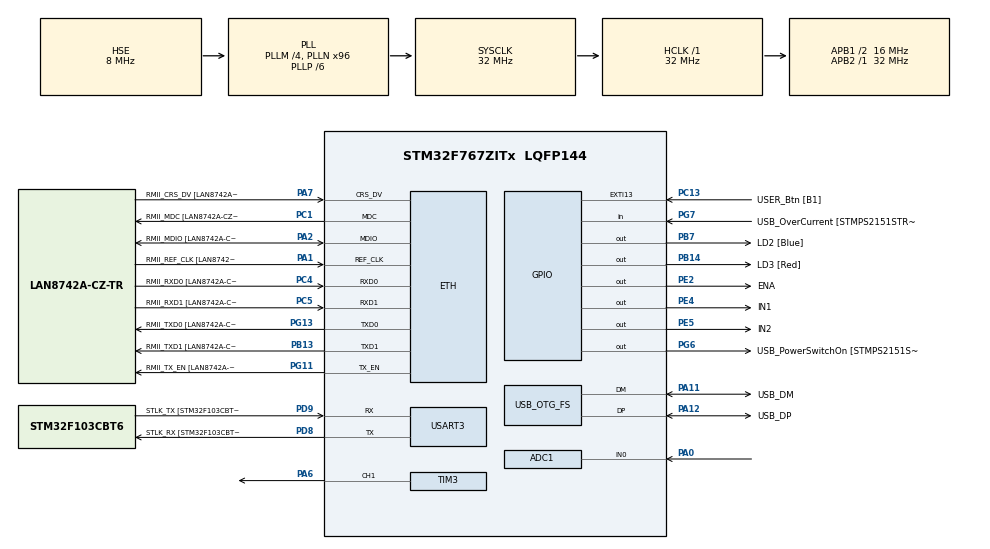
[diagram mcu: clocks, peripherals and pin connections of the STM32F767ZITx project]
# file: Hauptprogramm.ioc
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ADC1.Channel-1\#ChannelRegularConversion=ADC_CHANNEL_0
ADC1.ClockPrescaler=ADC_CLOCK_SYNC_PCLK_DIV4
ADC1.NbrOfConversionFlag=1
ADC1.Rank-1\#ChannelRegularConversion=1
ADC1.Resolution=ADC_RESOLUTION_10B
ADC1.SamplingTime-1\#ChannelRegularConversion=ADC_SAMPLETIME_15CYCLES
ADC1.master=1
ETH.MediaInterface=ETH_MEDIA_INTERFACE_RMII
ETH.PHY_Name=LAN8742A_PHY_ADDRESS
ETH.PHY_Value=0
ETH.PhyAddress=0
Mcu.Family=STM32F7
Mcu.Name=STM32F767ZITx
Mcu.Package=LQFP144
NVIC.OTG_FS_IRQn=true\:0\:0\:false\:false\:true\:false\:true
NVIC.PriorityGroup=NVIC_PRIORITYGROUP_4
NVIC.TIM8_TRG_COM_TIM14_IRQn=true\:0\:0\:false\:false\:true\:true\:true
PA0/WKUP.Signal=ADCx_IN0
PA1.GPIO_Label=RMII_REF_CLK [LAN8742A-CZ-TR_REFCLK0]
PA1.Mode=RMII
PA1.Signal=ETH_REF_CLK
PA10.GPIO_Label=USB_ID
PA10.Signal=USB_OTG_FS_ID
PA11.GPIO_Label=USB_DM
PA11.Mode=Device_Only
PA11.Signal=USB_OTG_FS_DM
PA12.GPIO_Label=USB_DP
PA12.Mode=Device_Only
PA12.Signal=USB_OTG_FS_DP
PA13.GPIO_Label=TMS
PA13.Mode=Serial_Wire
PA13.Signal=SYS_JTMS-SWDIO
PA14.GPIO_Label=TCK
PA14.Mode=Serial_Wire
PA14.Signal=SYS_JTCK-SWCLK
PA2.GPIO_Label=RMII_MDIO [LAN8742A-CZ-TR_MDIO]
PA2.Mode=RMII
PA2.Signal=ETH_MDIO
PA6.Signal=S_TIM3_CH1
PA7.GPIO_Label=RMII_CRS_DV [LAN8742A-CZ-TR_CRS_DV]
PA7.Mode=RMII
PA7.Signal=ETH_CRS_DV
PA8.GPIO_Label=USB_SOF [TP1]
PA8.Signal=USB_OTG_FS_SOF
PA9.GPIO_Label=USB_VBUS
PA9.Signal=USB_OTG_FS_VBUS
PB13.GPIO_Label=RMII_TXD1 [LAN8742A-CZ-TR_TXD1]
PB13.Mode=RMII
PB13.Signal=ETH_TXD1
PB14.GPIO_Label=LD3 [Red]
PB14.Signal=GPIO_Output
PB3.GPIO_Label=SWO
PB3.Signal=SYS_JTDO-SWO
PB7.GPIO_Label=LD2 [Blue]
PB7.Signal=GPIO_Output
PC1.GPIO_Label=RMII_MDC [LAN8742A-CZ-TR_MDC]
PC1.Mode=RMII
PC1.Signal=ETH_MDC
PC13.GPIO_Label=USER_Btn [B1]
PC13.Signal=GPXTI13
PC14/OSC32_IN.Mode=LSE-External-Oscillator
PC14/OSC32_IN.Signal=RCC_OSC32_IN
PC15/OSC32_OUT.Mode=LSE-External-Oscillator
PC15/OSC32_OUT.Signal=RCC_OSC32_OUT
PC4.GPIO_Label=RMII_RXD0 [LAN8742A-CZ-TR_RXD0]
PC4.Mode=RMII
PC4.Signal=ETH_RXD0
PC5.GPIO_Label=RMII_RXD1 [LAN8742A-CZ-TR_RXD1]
PC5.Mode=RMII
PC5.Signal=ETH_RXD1
PD8.GPIO_Label=STLK_RX [STM32F103CBT6_PA3]
PD8.Mode=Asynchronous
PD8.Signal=USART3_TX
PD9.GPIO_Label=STLK_TX [STM32F103CBT6_PA2]
PD9.Mode=Asynchronous
PD9.Signal=USART3_RX
PE2.GPIO_Label=ENA
PE2.Signal=GPIO_Output
PE4.GPIO_Label=IN1
PE4.Signal=GPIO_Output
PE5.GPIO_Label=IN2
PE5.Signal=GPIO_Output
PG11.GPIO_Label=RMII_TX_EN [LAN8742A-CZ-TR_TXEN]
PG11.Mode=RMII
PG11.Signal=ETH_TX_EN
PG13.GPIO_Label=RMII_TXD0 [LAN8742A-CZ-TR_TXD0]
PG13.Mode=RMII
PG13.Signal=ETH_TXD0
PG6.GPIO_Label=USB_PowerSwitchOn [STMPS2151STR_EN]
PG6.Signal=GPIO_Output
PG7.GPIO_Label=USB_OverCurrent [STMPS2151STR_FAULT]
PG7.Signal=GPIO_Input
PH0/OSC_IN.GPIO_Label=MCO [STM32F103CBT6_PA8]
PH0/OSC_IN.Mode=HSE-External-Clock-Source
PH0/OSC_IN.Signal=RCC_OSC_IN
PH1/OSC_OUT.Mode=HSE-External-Clock-Source
PH1/OSC_OUT.Signal=RCC_OSC_OUT
ProjectManager.HeapSize=0x2000
ProjectManager.StackSize=0x4000
ProjectManager.TargetToolchain=MDK-ARM V5
RCC.48MHZClocksFreq_Value=24000000
RCC.AHBFreq_Value=32000000
RCC.APB1CLKDivider=RCC_HCLK_DIV2
RCC.APB1Freq_Value=16000000
RCC.APB1TimFreq_Value=32000000
RCC.APB2Freq_Value=32000000
RCC.APB2TimFreq_Value=32000000
RCC.CortexFreq_Value=32000000
RCC.HCLKFreq_Value=32000000
RCC.HSE_VALUE=8000000
RCC.HSI_VALUE=16000000
RCC.PLLM=4
RCC.PLLMUL=RCC_PLL_MUL9
RCC.PLLN=96
RCC.PLLP=RCC_PLLP_DIV6
RCC.PLLQ=4
RCC.PRESCALERUSB=RCC_USBCLKSOURCE_PLL_DIV1_5
RCC.SYSCLKFreq_VALUE=32000000
RCC.SYSCLKSource=RCC_SYSCLKSOURCE_PLLCLK
RCC.SYSCLKSourceVirtual=RCC_SYSCLKSOURCE_PLLCLK
RCC.USBFreq_Value=48000000
RCC.VCOOutputFreq_Value=192000000
SH.ADCx_IN0.0=ADC1_IN0,IN0
SH.S_TIM3_CH1.0=TIM3_CH1,PWM Generation1 CH1
TIM14.Period=15999
TIM14.Prescaler=999
TIM3.Channel-PWM\ Generation1\ CH1=TIM_CHANNEL_1
TIM3.Period=1000
TIM3.Prescaler=32000
TIM3.Pulse-PWM\ Generation1\ CH1=500
USART3.VirtualMode-Asynchronous=VM_ASYNC
USB_DEVICE.CLASS_NAME_FS=CDC
USB_DEVICE.VirtualMode-CDC_FS=Cdc
USB_DEVICE.VirtualModeFS=Cdc_FS
USB_OTG_FS.VirtualMode=Device_Only
VP_TIM14_VS_ClockSourceINT.Mode=Enable_Timer
VP_TIM3_VS_ClockSourceINT.Mode=Internal
VP_USB_DEVICE_VS_USB_DEVICE_CDC_FS.Mode=CDC_FS
board=NUCLEO-F767ZI

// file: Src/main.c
/* USER CODE BEGIN Header */
/**
  ******************************************************************************
  * @file           : main.c
  * @brief          : Main program body
  ******************************************************************************
  * @attention
  *
  * <h2><center>&copy; Copyright (c) 2019 STMicroelectronics.
  * All rights reserved.</center></h2>
  *
  * This software component is licensed by ST under Ultimate Liberty license
  * SLA0044, the "License"; You may not use this file except in compliance with
  * the License. You may obtain a copy of the License at:
  *                             www.st.com/SLA0044
  *
  ******************************************************************************
  */
/* USER CODE END Header */

#include "main.h"
#include "usb_device.h"

/* USER CODE BEGIN Includes */
#include "usbd_cdc_if.h"
/* USER CODE END Includes */

ADC_HandleTypeDef hadc1;

ETH_HandleTypeDef heth;

TIM_HandleTypeDef htim3;
TIM_HandleTypeDef htim14;

UART_HandleTypeDef huart3;

/* USER CODE BEGIN PV */
uint32_t adcvaluek;
uint32_t adcvaluew;
float sensork;
float sensorw;
int test = 0;

/* USER CODE END PV */

void SystemClock_Config(void);
static void MX_GPIO_Init(void);
static void MX_ETH_Init(void);
static void MX_TIM14_Init(void);
static void MX_USART3_UART_Init(void);
static void MX_ADC1_Init(void);
static void MX_TIM3_Init(void);

int main(void)
{
  /* USER CODE BEGIN 1 */
  TIM_OC_InitTypeDef testConfigOC = {0};

  /* USER CODE END 1 */

  /* MCU Configuration--------------------------------------------------------*/

  /* Reset of all peripherals, Initializes the Flash interface and the Systick. */
  HAL_Init();

  /* Configure the system clock */
  SystemClock_Config();

  /* Initialize all configured peripherals */
  MX_GPIO_Init();
  MX_ETH_Init();
  MX_TIM14_Init();
  MX_USART3_UART_Init();
  MX_ADC1_Init();
  MX_TIM3_Init();
  MX_USB_DEVICE_Init();
  /* USER CODE BEGIN 2 */
	HAL_TIM_Base_Start_IT(&htim14);

	test = 15;
	HAL_TIM_PWM_Start(&htim3, TIM_CHANNEL_1);

	testConfigOC.OCMode = TIM_OCMODE_PWM1;
  testConfigOC.Pulse = test;
  testConfigOC.OCPolarity = TIM_OCPOLARITY_HIGH;
  testConfigOC.OCFastMode = TIM_OCFAST_DISABLE;

	if (HAL_TIM_PWM_ConfigChannel(&htim3, &testConfigOC, TIM_CHANNEL_1) != HAL_OK)
  {
    Error_Handler();
  }
	HAL_TIM_PWM_Start(&htim3, TIM_CHANNEL_1);

  /* USER CODE END 2 */
  /* Infinite loop */
  while (1)
  {

    /* USER CODE BEGIN 3 */
		HAL_GPIO_WritePin(IN1_GPIO_Port, IN1_Pin, GPIO_PIN_SET);
		HAL_GPIO_WritePin(IN2_GPIO_Port, IN2_Pin, GPIO_PIN_RESET);

		HAL_ADC_Start(&hadc1);
		if(HAL_ADC_PollForConversion(&hadc1,5) == HAL_OK)
			adcvaluek = HAL_ADC_GetValue(&hadc1);

		sensork=2*(2076.0/(adcvaluek-11));

		uint8_t buffer[] = "Hello World";

		CDC_Transmit_FS(buffer, sizeof(buffer));

		HAL_Delay(1000);
  }
  /* USER CODE END 3 */
}

void SystemClock_Config(void)
{
  RCC_OscInitTypeDef RCC_OscInitStruct = {0};
  RCC_ClkInitTypeDef RCC_ClkInitStruct = {0};
  RCC_PeriphCLKInitTypeDef PeriphClkInitStruct = {0};

  /** Configure LSE Drive Capability
  */
  HAL_PWR_EnableBkUpAccess();
  /** Configure the main internal regulator output voltage
  */
  __HAL_RCC_PWR_CLK_ENABLE();
  __HAL_PWR_VOLTAGESCALING_CONFIG(PWR_REGULATOR_VOLTAGE_SCALE3);
  /** Initializes the CPU, AHB and APB busses clocks
  */
  RCC_OscInitStruct.OscillatorType = RCC_OSCILLATORTYPE_HSE;
  RCC_OscInitStruct.HSEState = RCC_HSE_BYPASS;
  RCC_OscInitStruct.PLL.PLLState = RCC_PLL_ON;
  RCC_OscInitStruct.PLL.PLLSource = RCC_PLLSOURCE_HSE;
  RCC_OscInitStruct.PLL.PLLM = 4;
  RCC_OscInitStruct.PLL.PLLN = 96;
  RCC_OscInitStruct.PLL.PLLP = RCC_PLLP_DIV6;
  RCC_OscInitStruct.PLL.PLLQ = 4;
  if (HAL_RCC_OscConfig(&RCC_OscInitStruct) != HAL_OK)
  {
    Error_Handler();
  }
  /** Initializes the CPU, AHB and APB busses clocks
  */
  RCC_ClkInitStruct.ClockType = RCC_CLOCKTYPE_HCLK|RCC_CLOCKTYPE_SYSCLK
                              |RCC_CLOCKTYPE_PCLK1|RCC_CLOCKTYPE_PCLK2;
  RCC_ClkInitStruct.SYSCLKSource = RCC_SYSCLKSOURCE_PLLCLK;
  RCC_ClkInitStruct.AHBCLKDivider = RCC_SYSCLK_DIV1;
  RCC_ClkInitStruct.APB1CLKDivider = RCC_HCLK_DIV2;
  RCC_ClkInitStruct.APB2CLKDivider = RCC_HCLK_DIV1;

  if (HAL_RCC_ClockConfig(&RCC_ClkInitStruct, FLASH_LATENCY_1) != HAL_OK)
  {
    Error_Handler();
  }
  PeriphClkInitStruct.PeriphClockSelection = RCC_PERIPHCLK_USART3|RCC_PERIPHCLK_CLK48;
  PeriphClkInitStruct.Usart3ClockSelection = RCC_USART3CLKSOURCE_PCLK1;
  PeriphClkInitStruct.Clk48ClockSelection = RCC_CLK48SOURCE_PLL;
  if (HAL_RCCEx_PeriphCLKConfig(&PeriphClkInitStruct) != HAL_OK)
  {
    Error_Handler();
  }
}

static void MX_ADC1_Init(void)
{

  ADC_ChannelConfTypeDef sConfig = {0};

  /** Configure the global features of the ADC (Clock, Resolution, Data Alignment and number of conversion)
  */
  hadc1.Instance = ADC1;
  hadc1.Init.ClockPrescaler = ADC_CLOCK_SYNC_PCLK_DIV4;
  hadc1.Init.Resolution = ADC_RESOLUTION_10B;
  hadc1.Init.ScanConvMode = ADC_SCAN_DISABLE;
  hadc1.Init.ContinuousConvMode = DISABLE;
  hadc1.Init.DiscontinuousConvMode = DISABLE;
  hadc1.Init.ExternalTrigConvEdge = ADC_EXTERNALTRIGCONVEDGE_NONE;
  hadc1.Init.ExternalTrigConv = ADC_SOFTWARE_START;
  hadc1.Init.DataAlign = ADC_DATAALIGN_RIGHT;
  hadc1.Init.NbrOfConversion = 1;
  hadc1.Init.DMAContinuousRequests = DISABLE;
  hadc1.Init.EOCSelection = ADC_EOC_SINGLE_CONV;
  if (HAL_ADC_Init(&hadc1) != HAL_OK)
  {
    Error_Handler();
  }
  /** Configure for the selected ADC regular channel its corresponding rank in the sequencer and its sample time.
  */
  sConfig.Channel = ADC_CHANNEL_0;
  sConfig.Rank = ADC_REGULAR_RANK_1;
  sConfig.SamplingTime = ADC_SAMPLETIME_15CYCLES;
  if (HAL_ADC_ConfigChannel(&hadc1, &sConfig) != HAL_OK)
  {
    Error_Handler();
  }

}

static void MX_ETH_Init(void)
{

   uint8_t MACAddr[6] ;

  heth.Instance = ETH;
  heth.Init.AutoNegotiation = ETH_AUTONEGOTIATION_ENABLE;
  heth.Init.PhyAddress = LAN8742A_PHY_ADDRESS;
  MACAddr[0] = 0x00;
  MACAddr[1] = 0x80;
  MACAddr[2] = 0xE1;
  MACAddr[3] = 0x00;
  MACAddr[4] = 0x00;
  MACAddr[5] = 0x00;
  heth.Init.MACAddr = &MACAddr[0];
  heth.Init.RxMode = ETH_RXPOLLING_MODE;
  heth.Init.ChecksumMode = ETH_CHECKSUM_BY_HARDWARE;
  heth.Init.MediaInterface = ETH_MEDIA_INTERFACE_RMII;

  if (HAL_ETH_Init(&heth) != HAL_OK)
  {
    Error_Handler();
  }

}

static void MX_TIM3_Init(void)
{

  TIM_ClockConfigTypeDef sClockSourceConfig = {0};
  TIM_MasterConfigTypeDef sMasterConfig = {0};
  TIM_OC_InitTypeDef sConfigOC = {0};

  htim3.Instance = TIM3;
  htim3.Init.Prescaler = 6400;
  htim3.Init.CounterMode = TIM_COUNTERMODE_UP;
  htim3.Init.Period = 100; //entspricht 20ms preiode
  htim3.Init.ClockDivision = TIM_CLOCKDIVISION_DIV1;
  htim3.Init.AutoReloadPreload = TIM_AUTORELOAD_PRELOAD_DISABLE;
  if (HAL_TIM_Base_Init(&htim3) != HAL_OK)
  {
    Error_Handler();
  }
  sClockSourceConfig.ClockSource = TIM_CLOCKSOURCE_INTERNAL;
  if (HAL_TIM_ConfigClockSource(&htim3, &sClockSourceConfig) != HAL_OK)
  {
    Error_Handler();
  }
  if (HAL_TIM_PWM_Init(&htim3) != HAL_OK)
  {
    Error_Handler();
  }
  sMasterConfig.MasterOutputTrigger = TIM_TRGO_RESET;
  sMasterConfig.MasterSlaveMode = TIM_MASTERSLAVEMODE_DISABLE;
  if (HAL_TIMEx_MasterConfigSynchronization(&htim3, &sMasterConfig) != HAL_OK)
  {
    Error_Handler();
  }
  sConfigOC.OCMode = TIM_OCMODE_PWM1;
  sConfigOC.Pulse = 5;
  sConfigOC.OCPolarity = TIM_OCPOLARITY_HIGH;
  sConfigOC.OCFastMode = TIM_OCFAST_DISABLE;
  if (HAL_TIM_PWM_ConfigChannel(&htim3, &sConfigOC, TIM_CHANNEL_1) != HAL_OK)
  {
    Error_Handler();
  }
  HAL_TIM_MspPostInit(&htim3);

}

static void MX_TIM14_Init(void)
{

  htim14.Instance = TIM14;
  htim14.Init.Prescaler = 999;
  htim14.Init.CounterMode = TIM_COUNTERMODE_UP;
  htim14.Init.Period = 15999;
  htim14.Init.ClockDivision = TIM_CLOCKDIVISION_DIV1;
  htim14.Init.AutoReloadPreload = TIM_AUTORELOAD_PRELOAD_DISABLE;
  if (HAL_TIM_Base_Init(&htim14) != HAL_OK)
  {
    Error_Handler();
  }

}

static void MX_USART3_UART_Init(void)
{

  huart3.Instance = USART3;
  huart3.Init.BaudRate = 115200;
  huart3.Init.WordLength = UART_WORDLENGTH_8B;
  huart3.Init.StopBits = UART_STOPBITS_1;
  huart3.Init.Parity = UART_PARITY_NONE;
  huart3.Init.Mode = UART_MODE_TX_RX;
  huart3.Init.HwFlowCtl = UART_HWCONTROL_NONE;
  huart3.Init.OverSampling = UART_OVERSAMPLING_16;
  huart3.Init.OneBitSampling = UART_ONE_BIT_SAMPLE_DISABLE;
  huart3.AdvancedInit.AdvFeatureInit = UART_ADVFEATURE_NO_INIT;
  if (HAL_UART_Init(&huart3) != HAL_OK)
  {
    Error_Handler();
  }

}

static void MX_GPIO_Init(void)
{
  GPIO_InitTypeDef GPIO_InitStruct = {0};

  /* GPIO Ports Clock Enable */
  __HAL_RCC_GPIOE_CLK_ENABLE();
  __HAL_RCC_GPIOC_CLK_ENABLE();
  __HAL_RCC_GPIOH_CLK_ENABLE();
  __HAL_RCC_GPIOA_CLK_ENABLE();
  __HAL_RCC_GPIOB_CLK_ENABLE();
  __HAL_RCC_GPIOD_CLK_ENABLE();
  __HAL_RCC_GPIOG_CLK_ENABLE();

  /*Configure GPIO pin Output Level */
  HAL_GPIO_WritePin(GPIOE, ENA_Pin|IN1_Pin|IN2_Pin, GPIO_PIN_RESET);

  /*Configure GPIO pin Output Level */
  HAL_GPIO_WritePin(GPIOB, LD3_Pin|LD2_Pin, GPIO_PIN_RESET);

  /*Configure GPIO pin Output Level */
  HAL_GPIO_WritePin(USB_PowerSwitchOn_GPIO_Port, USB_PowerSwitchOn_Pin, GPIO_PIN_RESET);

  /*Configure GPIO pins : ENA_Pin IN1_Pin IN2_Pin */
  GPIO_InitStruct.Pin = ENA_Pin|IN1_Pin|IN2_Pin;
  GPIO_InitStruct.Mode = GPIO_MODE_OUTPUT_PP;
  GPIO_InitStruct.Pull = GPIO_NOPULL;
  GPIO_InitStruct.Speed = GPIO_SPEED_FREQ_LOW;
  HAL_GPIO_Init(GPIOE, &GPIO_InitStruct);

  /*Configure GPIO pin : USER_Btn_Pin */
  GPIO_InitStruct.Pin = USER_Btn_Pin;
  GPIO_InitStruct.Mode = GPIO_MODE_IT_RISING;
  GPIO_InitStruct.Pull = GPIO_NOPULL;
  HAL_GPIO_Init(USER_Btn_GPIO_Port, &GPIO_InitStruct);

  /*Configure GPIO pins : LD3_Pin LD2_Pin */
  GPIO_InitStruct.Pin = LD3_Pin|LD2_Pin;
  GPIO_InitStruct.Mode = GPIO_MODE_OUTPUT_PP;
  GPIO_InitStruct.Pull = GPIO_NOPULL;
  GPIO_InitStruct.Speed = GPIO_SPEED_FREQ_LOW;
  HAL_GPIO_Init(GPIOB, &GPIO_InitStruct);

  /*Configure GPIO pin : USB_PowerSwitchOn_Pin */
  GPIO_InitStruct.Pin = USB_PowerSwitchOn_Pin;
  GPIO_InitStruct.Mode = GPIO_MODE_OUTPUT_PP;
  GPIO_InitStruct.Pull = GPIO_NOPULL;
  GPIO_InitStruct.Speed = GPIO_SPEED_FREQ_LOW;
  HAL_GPIO_Init(USB_PowerSwitchOn_GPIO_Port, &GPIO_InitStruct);

  /*Configure GPIO pin : USB_OverCurrent_Pin */
  GPIO_InitStruct.Pin = USB_OverCurrent_Pin;
  GPIO_InitStruct.Mode = GPIO_MODE_INPUT;
  GPIO_InitStruct.Pull = GPIO_NOPULL;
  HAL_GPIO_Init(USB_OverCurrent_GPIO_Port, &GPIO_InitStruct);

}

void Error_Handler(void)
{
}

/************************ (C) COPYRIGHT STMicroelectronics *****END OF FILE****/
